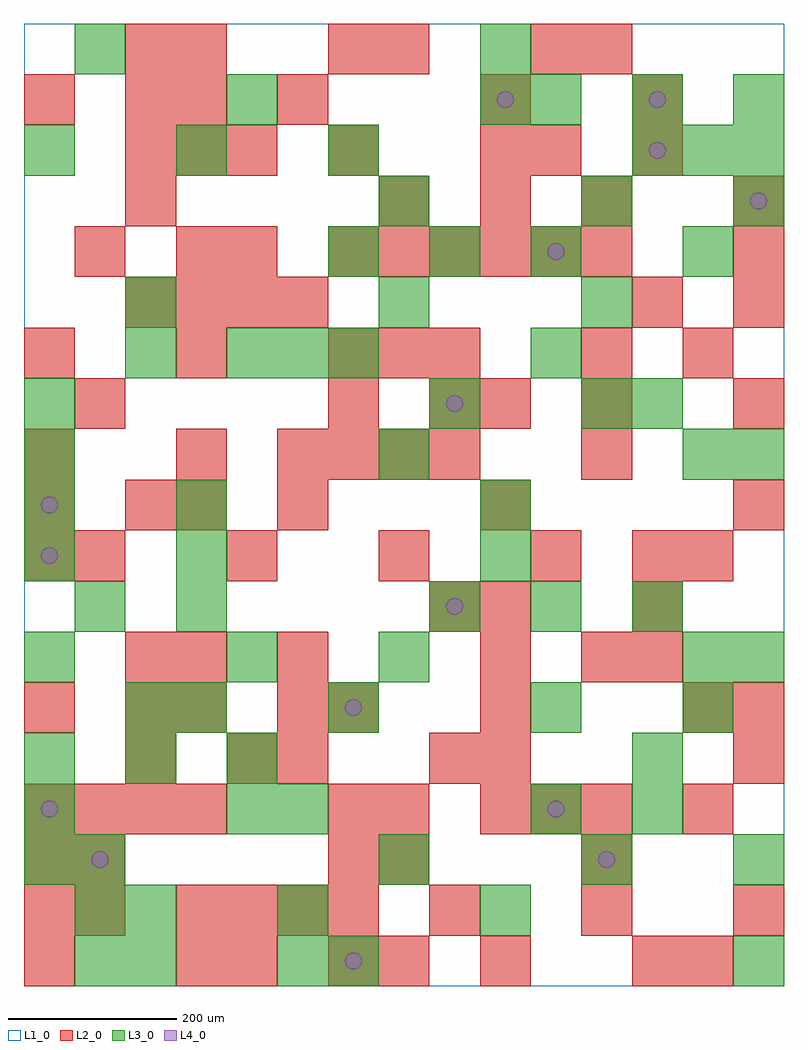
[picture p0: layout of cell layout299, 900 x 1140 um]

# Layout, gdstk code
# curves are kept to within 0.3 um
import gdstk
lib = gdstk.Library(unit=1e-6, precision=1e-09)
def R(c, l, rs):  # rectangles x0, y0, x1, y1
    for r in rs: c.add(gdstk.rectangle(r[:2], r[2:], *l))
def A(c, l, x, y, w, h, nx, ny, dx, dy):  # array of equal rectangles
    R(c, l, [(x+i*dx, y+j*dy, x+i*dx+w, y+j*dy+h) for i in range(nx) for j in range(ny)])
def P(c, l, *ps):  # polygons
    for p in ps: c.add(gdstk.Polygon(p, *l))
L1_0 = (1, 0)
L2_0 = (2, 0)
L3_0 = (3, 0)
L4_0 = (4, 0)

layout299 = lib.new_cell('layout299')
R(layout299, L1_0, [(0,0,900,1140)])
A(layout299, L2_0, 0, 0, 60, 60, 1, 3, 0, 60)
A(layout299, L2_0, 180, 60, 60, 60, 4, 1, 60, 0)
A(layout299, L2_0, 480, 60, 60, 60, 3, 1, 180, 0)
A(layout299, L2_0, 660, 120, 60, 60, 1, 3, 0, 240)
A(layout299, L2_0, 0, 180, 60, 60, 4, 1, 60, 0)
A(layout299, L2_0, 540, 180, 60, 60, 3, 1, 60, 0)
A(layout299, L2_0, 120, 240, 60, 60, 1, 3, 0, 60)
A(layout299, L2_0, 300, 240, 60, 60, 1, 3, 0, 60)
A(layout299, L2_0, 540, 240, 60, 60, 1, 4, 0, 60)
A(layout299, L2_0, 720, 360, 60, 60, 1, 3, 0, 60)
A(layout299, L2_0, 0, 480, 60, 60, 1, 3, 0, 60)
A(layout299, L2_0, 60, 480, 60, 60, 4, 1, 180, 0)
A(layout299, L2_0, 840, 540, 60, 60, 1, 3, 0, 120)
A(layout299, L2_0, 300, 600, 60, 60, 4, 1, 60, 0)
A(layout299, L2_0, 0, 720, 60, 60, 3, 1, 180, 0)
A(layout299, L2_0, 120, 780, 60, 60, 4, 1, 60, 0)
A(layout299, L2_0, 360, 840, 60, 60, 6, 1, 60, 0)
A(layout299, L2_0, 420, 900, 60, 60, 3, 1, 120, 0)
A(layout299, L2_0, 120, 960, 60, 60, 3, 1, 60, 0)
R(layout299, L2_0, [(180,0,240,60), (240,0,300,60), (360,0,420,60), (420,0,480,60), (540,0,600,60), (720,0,780,60), (780,0,840,60), (60,60,120,120), (60,120,120,180), (360,120,420,180), (420,120,480,180), (360,180,420,240), (420,180,480,240), (780,180,840,240), (240,240,300,300), (480,240,540,300), (840,240,900,300), (0,300,60,360), (180,300,240,360), (360,300,420,360), (780,300,840,360), (840,300,900,360), (180,360,240,420), (480,420,540,480), (780,480,840,540), (120,540,180,600), (180,540,240,600), (300,540,360,600), (540,540,600,600), (180,600,240,660), (60,660,120,720), (360,660,420,720), (480,660,540,720), (540,660,600,720), (660,660,720,720), (420,720,480,780), (480,720,540,780), (660,720,720,780), (780,720,840,780), (720,780,780,840), (60,840,120,900), (180,840,240,900), (240,840,300,900), (840,840,900,900), (120,900,180,960), (840,900,900,960), (360,960,420,1020), (540,960,600,1020), (600,960,660,1020), (720,960,780,1020), (0,1020,60,1080), (120,1020,180,1080), (180,1020,240,1080), (300,1020,360,1080), (540,1020,600,1080), (720,1020,780,1080), (120,1080,180,1140), (180,1080,240,1140), (360,1080,420,1140), (420,1080,480,1140), (600,1080,660,1140), (660,1080,720,1140)])
A(layout299, L3_0, 60, 0, 60, 60, 1, 3, 0, 60)
A(layout299, L3_0, 420, 120, 60, 60, 1, 3, 0, 240)
A(layout299, L3_0, 840, 120, 60, 60, 1, 3, 0, 240)
A(layout299, L3_0, 0, 240, 60, 60, 3, 1, 120, 0)
A(layout299, L3_0, 780, 360, 60, 60, 1, 3, 0, 240)
A(layout299, L3_0, 180, 420, 60, 60, 1, 3, 0, 60)
A(layout299, L3_0, 480, 420, 60, 60, 3, 1, 120, 0)
A(layout299, L3_0, 0, 480, 60, 60, 1, 4, 0, 60)
A(layout299, L3_0, 660, 660, 60, 60, 1, 3, 0, 120)
A(layout299, L3_0, 240, 720, 60, 60, 3, 1, 60, 0)
A(layout299, L3_0, 360, 840, 60, 60, 3, 1, 120, 0)
A(layout299, L3_0, 0, 960, 60, 60, 3, 1, 180, 0)
A(layout299, L3_0, 720, 960, 60, 60, 3, 1, 60, 0)
A(layout299, L3_0, 600, 1020, 60, 60, 3, 1, 120, 0)
R(layout299, L3_0, [(120,0,180,60), (300,0,360,60), (360,0,420,60), (840,0,900,60), (120,60,180,120), (300,60,360,120), (540,60,600,120), (0,120,60,180), (660,120,720,180), (0,180,60,240), (240,180,300,240), (300,180,360,240), (600,180,660,240), (720,180,780,240), (720,240,780,300), (120,300,180,360), (180,300,240,360), (360,300,420,360), (600,300,660,360), (780,300,840,360), (0,360,60,420), (240,360,300,420), (60,420,120,480), (540,480,600,540), (540,540,600,600), (480,660,540,720), (720,660,780,720), (120,720,180,780), (600,720,660,780), (120,780,180,840), (420,780,480,840), (420,900,480,960), (840,900,900,960), (240,1020,300,1080), (540,1020,600,1080), (60,1080,120,1140), (540,1080,600,1140)])
P(layout299, L4_0, [(40,210),(39.239,213.827),(37.071,217.071),(33.827,219.239),(30,220),(26.173,219.239),(22.929,217.071),(20.761,213.827),(20,210),(20.761,206.173),(22.929,202.929),(26.173,200.761),(30,200),(33.827,200.761),(37.071,202.929),(39.239,206.173)],
  [(40,510),(39.239,513.827),(37.071,517.071),(33.827,519.239),(30,520),(26.173,519.239),(22.929,517.071),(20.761,513.827),(20,510),(20.761,506.173),(22.929,502.929),(26.173,500.761),(30,500),(33.827,500.761),(37.071,502.929),(39.239,506.173)],
  [(40,570),(39.239,573.827),(37.071,577.071),(33.827,579.239),(30,580),(26.173,579.239),(22.929,577.071),(20.761,573.827),(20,570),(20.761,566.173),(22.929,562.929),(26.173,560.761),(30,560),(33.827,560.761),(37.071,562.929),(39.239,566.173)],
  [(100,150),(99.239,153.827),(97.071,157.071),(93.827,159.239),(90,160),(86.173,159.239),(82.929,157.071),(80.761,153.827),(80,150),(80.761,146.173),(82.929,142.929),(86.173,140.761),(90,140),(93.827,140.761),(97.071,142.929),(99.239,146.173)],
  [(400,30),(399.239,33.827),(397.071,37.071),(393.827,39.239),(390,40),(386.173,39.239),(382.929,37.071),(380.761,33.827),(380,30),(380.761,26.173),(382.929,22.929),(386.173,20.761),(390,20),(393.827,20.761),(397.071,22.929),(399.239,26.173)],
  [(400,330),(399.239,333.827),(397.071,337.071),(393.827,339.239),(390,340),(386.173,339.239),(382.929,337.071),(380.761,333.827),(380,330),(380.761,326.173),(382.929,322.929),(386.173,320.761),(390,320),(393.827,320.761),(397.071,322.929),(399.239,326.173)],
  [(520,450),(519.239,453.827),(517.071,457.071),(513.827,459.239),(510,460),(506.173,459.239),(502.929,457.071),(500.761,453.827),(500,450),(500.761,446.173),(502.929,442.929),(506.173,440.761),(510,440),(513.827,440.761),(517.071,442.929),(519.239,446.173)],
  [(520,690),(519.239,693.827),(517.071,697.071),(513.827,699.239),(510,700),(506.173,699.239),(502.929,697.071),(500.761,693.827),(500,690),(500.761,686.173),(502.929,682.929),(506.173,680.761),(510,680),(513.827,680.761),(517.071,682.929),(519.239,686.173)],
  [(580,1050),(579.239,1053.827),(577.071,1057.071),(573.827,1059.239),(570,1060),(566.173,1059.239),(562.929,1057.071),(560.761,1053.827),(560,1050),(560.761,1046.173),(562.929,1042.929),(566.173,1040.761),(570,1040),(573.827,1040.761),(577.071,1042.929),(579.239,1046.173)],
  [(640,210),(639.239,213.827),(637.071,217.071),(633.827,219.239),(630,220),(626.173,219.239),(622.929,217.071),(620.761,213.827),(620,210),(620.761,206.173),(622.929,202.929),(626.173,200.761),(630,200),(633.827,200.761),(637.071,202.929),(639.239,206.173)],
  [(640,870),(639.239,873.827),(637.071,877.071),(633.827,879.239),(630,880),(626.173,879.239),(622.929,877.071),(620.761,873.827),(620,870),(620.761,866.173),(622.929,862.929),(626.173,860.761),(630,860),(633.827,860.761),(637.071,862.929),(639.239,866.173)],
  [(700,150),(699.239,153.827),(697.071,157.071),(693.827,159.239),(690,160),(686.173,159.239),(682.929,157.071),(680.761,153.827),(680,150),(680.761,146.173),(682.929,142.929),(686.173,140.761),(690,140),(693.827,140.761),(697.071,142.929),(699.239,146.173)],
  [(760,990),(759.239,993.827),(757.071,997.071),(753.827,999.239),(750,1000),(746.173,999.239),(742.929,997.071),(740.761,993.827),(740,990),(740.761,986.173),(742.929,982.929),(746.173,980.761),(750,980),(753.827,980.761),(757.071,982.929),(759.239,986.173)],
  [(760,1050),(759.239,1053.827),(757.071,1057.071),(753.827,1059.239),(750,1060),(746.173,1059.239),(742.929,1057.071),(740.761,1053.827),(740,1050),(740.761,1046.173),(742.929,1042.929),(746.173,1040.761),(750,1040),(753.827,1040.761),(757.071,1042.929),(759.239,1046.173)],
  [(880,930),(879.239,933.827),(877.071,937.071),(873.827,939.239),(870,940),(866.173,939.239),(862.929,937.071),(860.761,933.827),(860,930),(860.761,926.173),(862.929,922.929),(866.173,920.761),(870,920),(873.827,920.761),(877.071,922.929),(879.239,926.173)])

lib.write_gds('layout299.gds')
